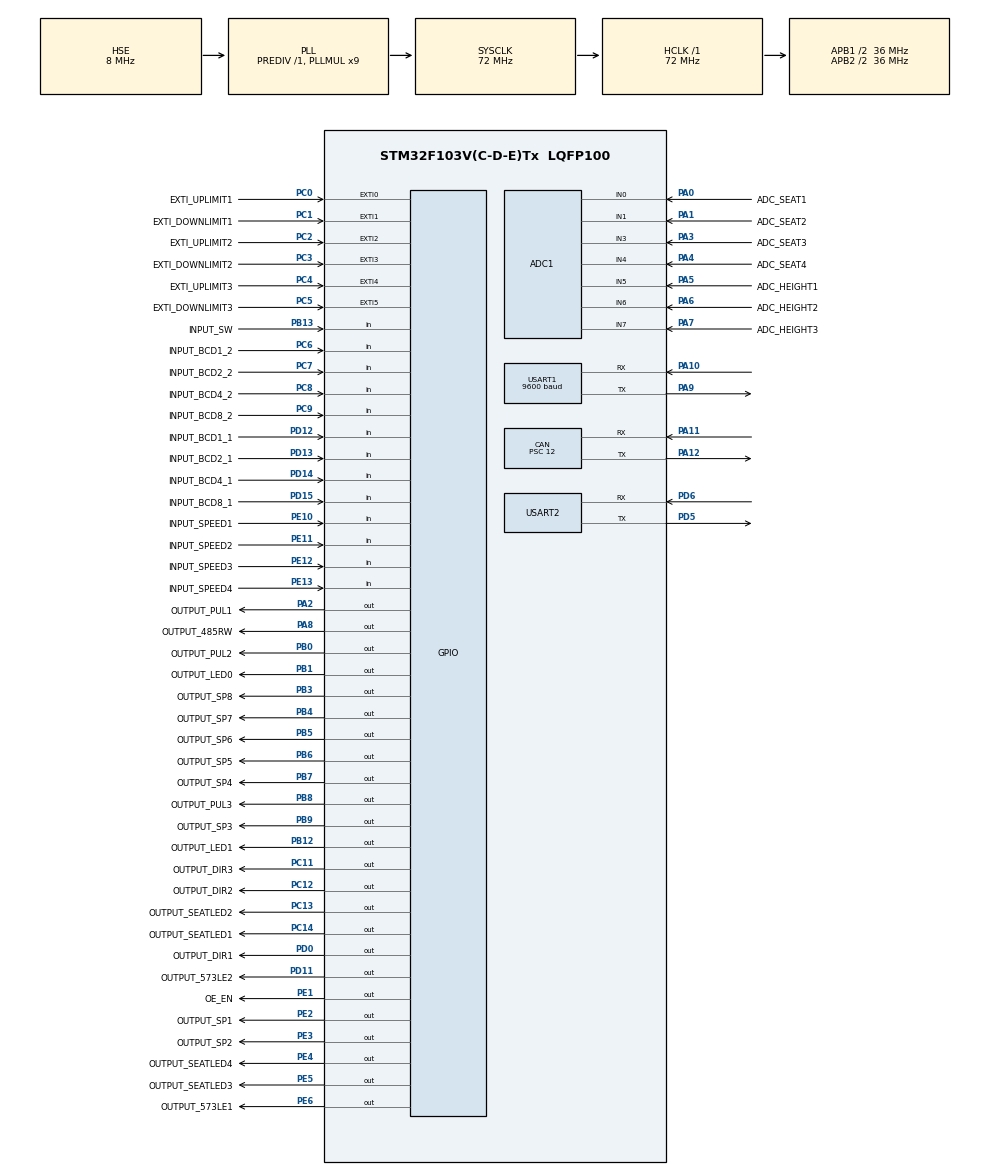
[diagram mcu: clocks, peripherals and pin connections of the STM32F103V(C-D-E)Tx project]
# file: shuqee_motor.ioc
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ADC1.Channel-0\#ChannelRegularConversion=ADC_CHANNEL_0
ADC1.Channel-1\#ChannelRegularConversion=ADC_CHANNEL_1
ADC1.Channel-2\#ChannelRegularConversion=ADC_CHANNEL_3
ADC1.Channel-3\#ChannelRegularConversion=ADC_CHANNEL_4
ADC1.Channel-4\#ChannelRegularConversion=ADC_CHANNEL_5
ADC1.Channel-5\#ChannelRegularConversion=ADC_CHANNEL_6
ADC1.Channel-6\#ChannelRegularConversion=ADC_CHANNEL_7
ADC1.ContinuousConvMode=ENABLE
ADC1.NbrOfConversion=7
ADC1.NbrOfConversionFlag=1
ADC1.Rank-0\#ChannelRegularConversion=1
ADC1.Rank-1\#ChannelRegularConversion=2
ADC1.Rank-2\#ChannelRegularConversion=3
ADC1.Rank-3\#ChannelRegularConversion=4
ADC1.Rank-4\#ChannelRegularConversion=5
ADC1.Rank-5\#ChannelRegularConversion=6
ADC1.Rank-6\#ChannelRegularConversion=7
ADC1.SamplingTime-0\#ChannelRegularConversion=ADC_SAMPLETIME_239CYCLES_5
ADC1.SamplingTime-1\#ChannelRegularConversion=ADC_SAMPLETIME_239CYCLES_5
ADC1.SamplingTime-2\#ChannelRegularConversion=ADC_SAMPLETIME_239CYCLES_5
ADC1.SamplingTime-3\#ChannelRegularConversion=ADC_SAMPLETIME_239CYCLES_5
ADC1.SamplingTime-4\#ChannelRegularConversion=ADC_SAMPLETIME_239CYCLES_5
ADC1.SamplingTime-5\#ChannelRegularConversion=ADC_SAMPLETIME_239CYCLES_5
ADC1.SamplingTime-6\#ChannelRegularConversion=ADC_SAMPLETIME_239CYCLES_5
ADC1.master=1
CAN.BS1=CAN_BS1_5TQ
CAN.BS2=CAN_BS2_6TQ
CAN.CalculateTimeBit=4000
CAN.CalculateTimeQuantum=333.33333333333337
CAN.Prescaler=12
Dma.ADC1.0.Direction=DMA_PERIPH_TO_MEMORY
Dma.ADC1.0.Instance=DMA1_Channel1
Dma.ADC1.0.MemDataAlignment=DMA_MDATAALIGN_HALFWORD
Dma.ADC1.0.MemInc=DMA_MINC_ENABLE
Dma.ADC1.0.Mode=DMA_CIRCULAR
Dma.ADC1.0.PeriphDataAlignment=DMA_PDATAALIGN_HALFWORD
Dma.ADC1.0.PeriphInc=DMA_PINC_DISABLE
Dma.ADC1.0.Priority=DMA_PRIORITY_LOW
Dma.Request0=ADC1
IWDG.Prescaler=IWDG_PRESCALER_4
Mcu.Family=STM32F1
Mcu.Name=STM32F103V(C-D-E)Tx
Mcu.Package=LQFP100
NVIC.DMA1_Channel1_IRQn=true\:4\:0\:true\:false\:true\:true
NVIC.EXTI0_IRQn=true\:0\:0\:false\:false\:true\:true
NVIC.EXTI1_IRQn=true\:0\:0\:false\:false\:true\:true
NVIC.EXTI2_IRQn=true\:0\:0\:false\:false\:true\:true
NVIC.EXTI3_IRQn=true\:0\:0\:false\:false\:true\:true
NVIC.EXTI4_IRQn=true\:0\:0\:false\:false\:true\:true
NVIC.EXTI9_5_IRQn=true\:0\:0\:false\:false\:true\:true
NVIC.PriorityGroup=NVIC_PRIORITYGROUP_4
NVIC.TIM1_UP_IRQn=true\:1\:0\:true\:false\:true\:true
NVIC.TIM2_IRQn=true\:1\:0\:true\:false\:true\:true
NVIC.TIM3_IRQn=true\:1\:0\:true\:false\:true\:true
NVIC.USART1_IRQn=true\:2\:0\:true\:false\:true\:true
NVIC.USART2_IRQn=true\:0\:0\:false\:false\:true\:true
NVIC.USB_LP_CAN1_RX0_IRQn=true\:2\:0\:true\:false\:true\:true
OSC_IN.Mode=HSE-External-Oscillator
OSC_IN.Signal=RCC_OSC_IN
OSC_OUT.Mode=HSE-External-Oscillator
OSC_OUT.Signal=RCC_OSC_OUT
PA0-WKUP.GPIO_Label=ADC_SEAT1
PA0-WKUP.Signal=ADCx_IN0
PA1.GPIO_Label=ADC_SEAT2
PA1.Signal=ADCx_IN1
PA10.Mode=Asynchronous
PA10.Signal=USART1_RX
PA11.Mode=Master
PA11.Signal=CAN_RX
PA12.Mode=Master
PA12.Signal=CAN_TX
PA13.Mode=Serial_Wire
PA13.Signal=SYS_JTMS-SWDIO
PA14.Mode=Serial_Wire
PA14.Signal=SYS_JTCK-SWCLK
PA2.GPIO_Label=OUTPUT_PUL1
PA2.GPIO_Speed=GPIO_SPEED_FREQ_HIGH
PA2.Signal=GPIO_Output
PA3.GPIO_Label=ADC_SEAT3
PA3.Signal=ADCx_IN3
PA4.GPIO_Label=ADC_SEAT4
PA4.Signal=ADCx_IN4
PA5.GPIO_Label=ADC_HEIGHT1
PA5.Signal=ADCx_IN5
PA6.GPIO_Label=ADC_HEIGHT2
PA6.Signal=ADCx_IN6
PA7.GPIO_Label=ADC_HEIGHT3
PA7.Signal=ADCx_IN7
PA8.GPIO_Label=OUTPUT_485RW
PA8.GPIO_Speed=GPIO_SPEED_FREQ_HIGH
PA8.Signal=GPIO_Output
PA9.Mode=Asynchronous
PA9.Signal=USART1_TX
PB0.GPIO_Label=OUTPUT_PUL2
PB0.GPIO_Speed=GPIO_SPEED_FREQ_HIGH
PB0.Signal=GPIO_Output
PB1.GPIO_Label=OUTPUT_LED0
PB1.GPIO_Speed=GPIO_SPEED_FREQ_HIGH
PB1.Signal=GPIO_Output
PB12.GPIO_Label=OUTPUT_LED1
PB12.GPIO_Speed=GPIO_SPEED_FREQ_HIGH
PB12.Signal=GPIO_Output
PB13.GPIO_Label=INPUT_SW
PB13.Signal=GPIO_Input
PB3.GPIO_Label=OUTPUT_SP8
PB3.GPIO_Speed=GPIO_SPEED_FREQ_HIGH
PB3.Signal=GPIO_Output
PB4.GPIO_Label=OUTPUT_SP7
PB4.GPIO_Speed=GPIO_SPEED_FREQ_HIGH
PB4.Signal=GPIO_Output
PB5.GPIO_Label=OUTPUT_SP6
PB5.GPIO_Speed=GPIO_SPEED_FREQ_HIGH
PB5.Signal=GPIO_Output
PB6.GPIO_Label=OUTPUT_SP5
PB6.GPIO_Speed=GPIO_SPEED_FREQ_HIGH
PB6.Signal=GPIO_Output
PB7.GPIO_Label=OUTPUT_SP4
PB7.GPIO_Speed=GPIO_SPEED_FREQ_HIGH
PB7.Signal=GPIO_Output
PB8.GPIO_Label=OUTPUT_PUL3
PB8.GPIO_Speed=GPIO_SPEED_FREQ_HIGH
PB8.Signal=GPIO_Output
PB9.GPIO_Label=OUTPUT_SP3
PB9.GPIO_Speed=GPIO_SPEED_FREQ_HIGH
PB9.Signal=GPIO_Output
PC0.GPIO_Label=EXTI_UPLIMIT1
PC0.GPIO_ModeDefaultEXTI=GPIO_MODE_IT_RISING_FALLING
PC0.Signal=GPXTI0
PC1.GPIO_Label=EXTI_DOWNLIMIT1
PC1.GPIO_ModeDefaultEXTI=GPIO_MODE_IT_RISING_FALLING
PC1.Signal=GPXTI1
PC11.GPIO_Label=OUTPUT_DIR3
PC11.GPIO_Speed=GPIO_SPEED_FREQ_HIGH
PC11.Signal=GPIO_Output
PC12.GPIO_Label=OUTPUT_DIR2
PC12.GPIO_Speed=GPIO_SPEED_FREQ_HIGH
PC12.Signal=GPIO_Output
PC13-TAMPER-RTC.GPIO_Label=OUTPUT_SEATLED2
PC13-TAMPER-RTC.GPIO_Speed=GPIO_SPEED_FREQ_HIGH
PC13-TAMPER-RTC.Signal=GPIO_Output
PC14-OSC32_IN.GPIO_Label=OUTPUT_SEATLED1
PC14-OSC32_IN.GPIO_Speed=GPIO_SPEED_FREQ_HIGH
PC14-OSC32_IN.Signal=GPIO_Output
PC2.GPIO_Label=EXTI_UPLIMIT2
PC2.GPIO_ModeDefaultEXTI=GPIO_MODE_IT_RISING_FALLING
PC2.Signal=GPXTI2
PC3.GPIO_Label=EXTI_DOWNLIMIT2
PC3.GPIO_ModeDefaultEXTI=GPIO_MODE_IT_RISING_FALLING
PC3.Signal=GPXTI3
PC4.GPIO_Label=EXTI_UPLIMIT3
PC4.GPIO_ModeDefaultEXTI=GPIO_MODE_IT_RISING_FALLING
PC4.Signal=GPXTI4
PC5.GPIO_Label=EXTI_DOWNLIMIT3
PC5.GPIO_ModeDefaultEXTI=GPIO_MODE_IT_RISING_FALLING
PC5.Signal=GPXTI5
PC6.GPIO_Label=INPUT_BCD1_2
PC6.Signal=GPIO_Input
PC7.GPIO_Label=INPUT_BCD2_2
PC7.Signal=GPIO_Input
PC8.GPIO_Label=INPUT_BCD4_2
PC8.Signal=GPIO_Input
PC9.GPIO_Label=INPUT_BCD8_2
PC9.Signal=GPIO_Input
PD0.GPIO_Label=OUTPUT_DIR1
PD0.GPIO_Speed=GPIO_SPEED_FREQ_HIGH
PD0.Signal=GPIO_Output
PD11.GPIO_Label=OUTPUT_573LE2
PD11.GPIO_Speed=GPIO_SPEED_FREQ_HIGH
PD11.PinState=GPIO_PIN_RESET
PD11.Signal=GPIO_Output
PD12.GPIO_Label=INPUT_BCD1_1
PD12.Signal=GPIO_Input
PD13.GPIO_Label=INPUT_BCD2_1
PD13.Signal=GPIO_Input
PD14.GPIO_Label=INPUT_BCD4_1
PD14.Signal=GPIO_Input
PD15.GPIO_Label=INPUT_BCD8_1
PD15.Signal=GPIO_Input
PD5.Mode=Asynchronous
PD5.Signal=USART2_TX
PD6.Mode=Asynchronous
PD6.Signal=USART2_RX
PE1.GPIO_Label=OE_EN
PE1.PinState=GPIO_PIN_SET
PE1.Signal=GPIO_Output
PE10.GPIO_Label=INPUT_SPEED1
PE10.GPIO_Mode=GPIO_MODE_INPUT
PE10.Signal=GPIO_Input
PE11.GPIO_Label=INPUT_SPEED2
PE11.Signal=GPIO_Input
PE12.GPIO_Label=INPUT_SPEED3
PE12.Signal=GPIO_Input
PE13.GPIO_Label=INPUT_SPEED4
PE13.Signal=GPIO_Input
PE2.GPIO_Label=OUTPUT_SP1
PE2.GPIO_Speed=GPIO_SPEED_FREQ_HIGH
PE2.Signal=GPIO_Output
PE3.GPIO_Label=OUTPUT_SP2
PE3.GPIO_Speed=GPIO_SPEED_FREQ_HIGH
PE3.Signal=GPIO_Output
PE4.GPIO_Label=OUTPUT_SEATLED4
PE4.GPIO_Speed=GPIO_SPEED_FREQ_HIGH
PE4.Signal=GPIO_Output
PE5.GPIO_Label=OUTPUT_SEATLED3
PE5.GPIO_Speed=GPIO_SPEED_FREQ_HIGH
PE5.Signal=GPIO_Output
PE6.GPIO_Label=OUTPUT_573LE1
PE6.GPIO_Speed=GPIO_SPEED_FREQ_HIGH
PE6.Signal=GPIO_Output
ProjectManager.HeapSize=0x200
ProjectManager.StackSize=0x400
ProjectManager.TargetToolchain=MDK-ARM V5
RCC.ADCPresc=RCC_ADCPCLK2_DIV8
RCC.AHBFreq_Value=72000000
RCC.APB1CLKDivider=RCC_HCLK_DIV2
RCC.APB1Freq_Value=36000000
RCC.APB1TimFreq_Value=72000000
RCC.APB2CLKDivider=RCC_HCLK_DIV2
RCC.APB2Freq_Value=36000000
RCC.APB2TimFreq_Value=72000000
RCC.HCLKFreq_Value=72000000
RCC.PLLMUL=RCC_PLL_MUL9
RCC.PLLSourceVirtual=RCC_PLLSOURCE_HSE
RCC.SYSCLKFreq_VALUE=72000000
RCC.SYSCLKSource=RCC_SYSCLKSOURCE_PLLCLK
RCC.USBFreq_Value=72000000
SH.ADCx_IN0.0=ADC1_IN0,IN0
SH.ADCx_IN1.0=ADC1_IN1,IN1
SH.ADCx_IN3.0=ADC1_IN3,IN3
SH.ADCx_IN4.0=ADC1_IN4,IN4
SH.ADCx_IN5.0=ADC1_IN5,IN5
SH.ADCx_IN6.0=ADC1_IN6,IN6
SH.ADCx_IN7.0=ADC1_IN7,IN7
TIM1.Period=999
TIM1.Prescaler=71
TIM2.Period=999
TIM2.Prescaler=71
TIM3.Period=999
TIM3.Prescaler=71
USART1.BaudRate=9600
USART1.VirtualMode=VM_ASYNC
USART2.VirtualMode=VM_ASYNC
VP_IWDG_VS_IWDG.Mode=IWDG_Activate
VP_TIM1_VS_ClockSourceINT.Mode=Internal
VP_TIM2_VS_ClockSourceINT.Mode=Internal
VP_TIM3_VS_ClockSourceINT.Mode=Internal
board=shuqee_motor

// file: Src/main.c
/**
  ******************************************************************************
  * File Name          : main.c
  * Description        : Main program body
  ******************************************************************************
  ** This notice applies to any and all portions of this file
  * that are not between comment pairs USER CODE BEGIN and
  * USER CODE END. Other portions of this file, whether
  * inserted by the user or by software development tools
  * are owned by their respective copyright owners.
  *
  * COPYRIGHT(c) 2018 STMicroelectronics
  *
  * Redistribution and use in source and binary forms, with or without modification,
  * are permitted provided that the following conditions are met:
  *   1. Redistributions of source code must retain the above copyright notice,
  *      this list of conditions and the following disclaimer.
  *   2. Redistributions in binary form must reproduce the above copyright notice,
  *      this list of conditions and the following disclaimer in the documentation
  *      and/or other materials provided with the distribution.
  *   3. Neither the name of STMicroelectronics nor the names of its contributors
  *      may be used to endorse or promote products derived from this software
  *      without specific prior written permission.
  *
  * THIS SOFTWARE IS PROVIDED BY THE COPYRIGHT HOLDERS AND CONTRIBUTORS "AS IS"
  * AND ANY EXPRESS OR IMPLIED WARRANTIES, INCLUDING, BUT NOT LIMITED TO, THE
  * IMPLIED WARRANTIES OF MERCHANTABILITY AND FITNESS FOR A PARTICULAR PURPOSE ARE
  * DISCLAIMED. IN NO EVENT SHALL THE COPYRIGHT HOLDER OR CONTRIBUTORS BE LIABLE
  * FOR ANY DIRECT, INDIRECT, INCIDENTAL, SPECIAL, EXEMPLARY, OR CONSEQUENTIAL
  * DAMAGES (INCLUDING, BUT NOT LIMITED TO, PROCUREMENT OF SUBSTITUTE GOODS OR
  * SERVICES; LOSS OF USE, DATA, OR PROFITS; OR BUSINESS INTERRUPTION) HOWEVER
  * CAUSED AND ON ANY THEORY OF LIABILITY, WHETHER IN CONTRACT, STRICT LIABILITY,
  * OR TORT (INCLUDING NEGLIGENCE OR OTHERWISE) ARISING IN ANY WAY OUT OF THE USE
  * OF THIS SOFTWARE, EVEN IF ADVISED OF THE POSSIBILITY OF SUCH DAMAGE.
  *
  ******************************************************************************
  */

#include "main.h"
#include "stm32f1xx_hal.h"

/* USER CODE BEGIN Includes */
#include "user_config.h"
#include "user_io.h"
#include "user_time.h"
#include "user_uart.h"
#include "user_can.h"
#include "sw_timer.h"
#include <string.h>
/* USER CODE END Includes */

ADC_HandleTypeDef hadc1;
DMA_HandleTypeDef hdma_adc1;

CAN_HandleTypeDef hcan;

IWDG_HandleTypeDef hiwdg;

TIM_HandleTypeDef htim1;
TIM_HandleTypeDef htim2;
TIM_HandleTypeDef htim3;

UART_HandleTypeDef huart1;
UART_HandleTypeDef huart2;

/* USER CODE BEGIN PV */
/* Private variables ---------------------------------------------------------*/
struct motion_status motion[MOTION_COUNT] = {MOTION1};
struct status status = {0};
int flag_rst = 0;	//reset flag
volatile uint8_t up_loop=0,down_loop=0;
volatile uint8_t mask_adpat_init=0;
uint8_t intput_level;
char offset_data;
/* USER CODE END PV */

void SystemClock_Config(void);
static void MX_GPIO_Init(void);
static void MX_DMA_Init(void);
static void MX_ADC1_Init(void);
static void MX_USART1_UART_Init(void);
static void MX_IWDG_Init(void);
static void MX_TIM1_Init(void);
static void MX_TIM2_Init(void);
static void MX_TIM3_Init(void);
static void MX_USART2_UART_Init(void);
static void MX_CAN_Init(void);

/* USER CODE BEGIN PFP */
/* Private function prototypes -----------------------------------------------*/

/* USER CODE END PFP */

/* USER CODE BEGIN 0 */
/**
  * @brief  Delay nanosecond function.
  * @param  times: how much nanosecond to delay.
  * @retval None
  */
void delay_ns(uint32_t times)
{
	while(times--);
}

/**
  * @brief  Delay microsecond function.
  * @param  times: how much microsecond to delay.
  * @retval None
  */
void delay_us(uint32_t times)
{
	int i;
	uint32_t count;
	for(i=0; i<10; i++)
	{
		count = times;
		while(count--);
	}
}

/**
  * @brief  Delay millisecond function.
  * @param  times: how much millisecond to delay.
  * @retval None
  */
void delay_ms(uint32_t times)
{
	uint32_t count;
	count = times;
	while(count--)
		delay_us(1000);
}

#ifdef ENV_RESET

/**
  * @brief  Reset the platform,set every motion into the origin.
  * @param  None
  * @retval None
  */
void find_origin(void)
{
	enum motion_num i;
	int def_high[MOTION_COUNT] = {0};
	for(i=MOTION1; i<MOTION_COUNT; i++)
	{
		/* bit0、bit1、bit2 for 1�?2�?3 motion；not reset�?1；reset�?0. */
		flag_rst |= 1<<i;
	}
	/* at least one motion is not reset, do while */
	while(flag_rst)
	{
		for(i=MOTION1; i<MOTION_COUNT; i++)
		{
			/* i motion is not reset, do if */
			if((flag_rst&(1<<i)) != 0)
			{
				/* i motion is not in the lowest point */
		 		if(def_high[i] == 0 && status.downlimit[i] == 0)
				{
					/* move down */
					set_pul(i, (GPIO_PinState)1, 200, 1);
				}
				/* i motion is in the lowest point */
				if(def_high[i] == 0 && status.downlimit[i] == 1)
				{
					/* Don't need correction */
					if (motion[i].config.adj == 0)
					{
						/* reset done */
						flag_rst &= ~(1<<i);
					}
					else
					{
						def_high[i] = motion[i].config.adj * ENV_SPACE;
					}
				}
				/* Need to correction */
				if(def_high[i] != 0)
				{
					/* move up */
					set_pul(i, (GPIO_PinState)0, 200, 1);
					def_high[i]--;
					/* move done */
					if(def_high[i] == 0)
					{
						/* reset done */
						flag_rst &= ~(1<<i);
					}
				}
			}
		}
	}
}
#endif

/**
  * @brief  Exchange the io of up and down.
  * @param  index: the number of the motion.
  * @retval None
  */
#ifndef ENV_AIR
void exchange_nup_ndown(enum motion_num index)
{
	GPIO_TypeDef * temp_port;
	uint16_t temp_pin;
	temp_port = motion[index].io.nup_port;
	temp_pin = motion[index].io.nup_pin;
	motion[index].io.nup_port = motion[index].io.ndown_port;
	motion[index].io.nup_pin = motion[index].io.ndown_pin;
	motion[index].io.ndown_port = temp_port;
	motion[index].io.ndown_pin = temp_pin;
}
#endif
/**
  * @brief  Init the motion for the client.
  * @param  None
  * @retval None
  */
void user_motion_init(void)
{
#ifndef ENV_AIR
	enum motion_num i;
#endif
	memset((void *)motion, 0, sizeof(motion));
#ifndef ENV_AIR
	motion[MOTION1].io.dir_port = OUTPUT_DIR1_GPIO_Port;
	motion[MOTION1].io.dir_pin = OUTPUT_DIR1_Pin;
	motion[MOTION1].io.pul_port = OUTPUT_PUL1_GPIO_Port;
	motion[MOTION1].io.pul_pin = OUTPUT_PUL1_Pin;
	motion[MOTION1].io.nup_port = OUTPUT_NUP1_GPIO_Port;
	motion[MOTION1].io.nup_pin = OUTPUT_NUP1_Pin;
	motion[MOTION1].io.ndown_port = OUTPUT_NDOWN1_GPIO_Port;
	motion[MOTION1].io.ndown_pin = OUTPUT_NDOWN1_Pin;
	motion[MOTION2].io.dir_port = OUTPUT_DIR2_GPIO_Port;
	motion[MOTION2].io.dir_pin = OUTPUT_DIR2_Pin;
	motion[MOTION2].io.pul_port = OUTPUT_PUL2_GPIO_Port;
	motion[MOTION2].io.pul_pin = OUTPUT_PUL2_Pin;
	motion[MOTION2].io.nup_port = OUTPUT_NUP2_GPIO_Port;
	motion[MOTION2].io.nup_pin = OUTPUT_NUP2_Pin;
	motion[MOTION2].io.ndown_port = OUTPUT_NDOWN2_GPIO_Port;
	motion[MOTION2].io.ndown_pin = OUTPUT_NDOWN2_Pin;
	motion[MOTION3].io.dir_port = OUTPUT_DIR3_GPIO_Port;
	motion[MOTION3].io.dir_pin = OUTPUT_DIR3_Pin;
	motion[MOTION3].io.pul_port = OUTPUT_PUL3_GPIO_Port;
	motion[MOTION3].io.pul_pin = OUTPUT_PUL3_Pin;
	motion[MOTION3].io.nup_port = OUTPUT_NUP3_GPIO_Port;
	motion[MOTION3].io.nup_pin = OUTPUT_NUP3_Pin;
	motion[MOTION3].io.ndown_port = OUTPUT_NDOWN3_GPIO_Port;
	motion[MOTION3].io.ndown_pin = OUTPUT_NDOWN3_Pin;
#else
	motion[MOTION1].io.up_port = OUTPUT_PUL1_GPIO_Port;
	motion[MOTION1].io.up_pin = OUTPUT_PUL1_Pin;
	motion[MOTION1].io.down_port = OUTPUT_DIR1_GPIO_Port;
	motion[MOTION1].io.down_pin = OUTPUT_DIR1_Pin;
	motion[MOTION2].io.up_port = OUTPUT_PUL2_GPIO_Port;
	motion[MOTION2].io.up_pin = OUTPUT_PUL2_Pin;
	motion[MOTION2].io.down_port = OUTPUT_DIR2_GPIO_Port;
	motion[MOTION2].io.down_pin = OUTPUT_DIR2_Pin;
	motion[MOTION3].io.up_port = OUTPUT_PUL3_GPIO_Port;
	motion[MOTION3].io.up_pin = OUTPUT_PUL3_Pin;
	motion[MOTION3].io.down_port = OUTPUT_DIR3_GPIO_Port;
	motion[MOTION3].io.down_pin = OUTPUT_DIR3_Pin;
#endif

#ifndef ENV_AIR
	motion[MOTION1].config.dir = MOTION1_CONFIG_DIR;
	motion[MOTION2].config.dir = MOTION2_CONFIG_DIR;
	motion[MOTION3].config.dir = MOTION3_CONFIG_DIR;

	motion[MOTION1].config.origin = MOTION1_CONFIG_ORIGIN;
	motion[MOTION2].config.origin = MOTION2_CONFIG_ORIGIN;
	motion[MOTION3].config.origin = MOTION3_CONFIG_ORIGIN;

	motion[MOTION1].config.adj = MOTION1_CONFIG_ADJ;
	motion[MOTION2].config.adj = MOTION2_CONFIG_ADJ;
	motion[MOTION3].config.adj = MOTION3_CONFIG_ADJ;

	for (i=MOTION1; i<MOTION_COUNT; i++)
	{
		motion[i].index = i;
		motion[i].high.set = motion[i].config.origin * ENV_SPACE;
		if (motion[i].config.dir == GPIO_PIN_SET)
		{
			exchange_nup_ndown(i);
		}
	}
#ifdef ENV_RESET
	find_origin();
#endif
#endif
}

#ifndef ENV_AIR
#ifdef ENV_NOSENSOR
/**
  * @brief  Free the limit of down move.
  * @param  None
  * @retval None
  */
void free_ndown(void)
{
	enum motion_num i;
	for (i=MOTION1; i<MOTION_COUNT; i++)
	{
		if (motion[i].high.now >= 0 * ENV_SPACE)
		{
			/* Allowed to move down */
			HAL_GPIO_WritePin(motion[i].io.ndown_port, motion[i].io.ndown_pin, GPIO_PIN_SET);
		}
	}
}

/**
  * @brief  Free the limit of up move.
  * @param  None
  * @retval None
  */
void free_nup(void)
{
	enum motion_num i;
	for (i=MOTION1; i<MOTION_COUNT; i++)
	{
		if (motion[i].high.now <= 255 * ENV_SPACE)
		{
			/* Allowed to move up */
			HAL_GPIO_WritePin(motion[i].io.nup_port, motion[i].io.nup_pin, GPIO_PIN_SET);
		}
	}
}
#else
/**
  * @brief  Free the limit of down move.
  * @param  None
  * @retval None
  */
void free_ndown(void)
{
	enum motion_num i;
	for (i=MOTION1; i<MOTION_COUNT; i++)
	{
		if (status.downlimit[i] == 0)
		{
			/* allowed to move down */
			HAL_GPIO_WritePin(motion[i].io.ndown_port, motion[i].io.ndown_pin, GPIO_PIN_SET);
		}
	}
}

/**
  * @brief  Free the limit of up move.
  * @param  None
  * @retval None
  */
void free_nup(void)
{
	enum motion_num i;
	for (i=MOTION1; i<MOTION_COUNT; i++)
	{
		if (status.uplimit[i] == 0)
		{
			/* allowed to move up */
			HAL_GPIO_WritePin(motion[i].io.nup_port, motion[i].io.nup_pin, GPIO_PIN_SET);
		}
	}
}
#endif
#endif

void speed_scan(void)
{
	   if(key1())   intput_level|=0x01;   else  intput_level&=0x0e;
	   if(key2())   intput_level|=0x02;   else  intput_level&=0x0d;
	   if(key3())   intput_level|=0x04;   else  intput_level&=0x0b;
	   if(key4())   intput_level|=0x08;   else  intput_level&=0x07;
	   switch(intput_level)
		 {
				case 0: offset_data=30; break;
				case 1: offset_data=25; break;
				case 2: offset_data=20; break;
				case 3: offset_data=15; break;
				case 4: offset_data=10; break;
				case 5: offset_data=5; break;
				case 6: offset_data=0; break;
				case 7: offset_data=-5; break;
				case 8: offset_data=-10; break;
				case 9: offset_data=-15; break;
				case 10: offset_data=-20; break;
				case 11: offset_data=-25; break;
				case 12: offset_data=-30; break;
				case 13: offset_data=-35; break;
				case 14: offset_data=-40; break;
				case 15: offset_data=-45; break;
			  default :break;
		 }
}
/* USER CODE END 0 */

int main(void)
{

  /* USER CODE BEGIN 1 */
	static int led_count = 0;
	static uint8_t send_seat = 0;
	/* frame header: 0xff; ack type: 0xc1 */
	static uint8_t send_buf[4] = {0xff,0xc1};
	static int send_index = 0;
	/* flag of update about the data of uart coming; not update: 0; update: 1 */
	uint8_t update_485;
	uint8_t update_can;
	/* flag of init; not init: 0; init: 1 */
	uint8_t init_flag = 0;
//	uint8_t i;
  /* USER CODE END 1 */

  /* MCU Configuration----------------------------------------------------------*/

  /* Reset of all peripherals, Initializes the Flash interface and the Systick. */
  HAL_Init();

  /* Configure the system clock */
  SystemClock_Config();

  /* Initialize all configured peripherals */
  MX_GPIO_Init();
  MX_DMA_Init();
  MX_ADC1_Init();
  MX_USART1_UART_Init();
//  MX_IWDG_Init();
  MX_TIM1_Init();
  MX_TIM2_Init();
  MX_TIM3_Init();
  MX_USART2_UART_Init();
  MX_CAN_Init();

  /* USER CODE BEGIN 2 */
	user_io_init();
	user_motion_init();
	user_time_init();
	user_uart_init();
	user_can_init();
	sw_timer_init();
	speed_scan();
  /* USER CODE END 2 */

  /* Infinite loop */
  while (1)
  {

  /* USER CODE BEGIN 3 */
		led_count = 0;
		send_seat = 0;
		send_index = 0;

//	user_io_init();
//	user_motion_init();
//	user_time_init();
//	user_uart_init();

		SAFE(motion[MOTION1].high.set = 0* ENV_SPACE);
		SAFE(motion[MOTION2].high.set = 0* ENV_SPACE);
		SAFE(motion[MOTION3].high.set = 0* ENV_SPACE);

//	__HAL_IWDG_START(&hiwdg);

	init_flag = 1;

	while (init_flag != 0)
	{
//		HAL_IWDG_Refresh(&hiwdg);
		sw_timer_handle();
		status.seat_enable = GET_SEAT_ENABLE();
		SAFE(status.seat_enable += status.seat_num);
		SAFE(update_485 = frame.enable);
		SAFE(update_can=get_update_flag());
#ifndef ENV_AIR
		SAFE(free_ndown());
		SAFE(free_nup());
#endif
		if (update_485||update_can)
		{
			SAFE(frame.enable = 0);
			SAFE(clr_update_flag());
			/* LED_START */
			led_count++;
			led_count = led_count%10;
			if(led_count == 0)
			{
				LED_TOGGLE();
			}
			/* LED_END */
			/* DEBUG_INFO_START */
//			user_send_debug_info();
			/* DEBUG_INFO_END */
			/* SEAT_START */
			if (status.seat_enable)
			{
				/* update the set of height */
				SAFE(motion[MOTION1].high.set = frame.buff[4] * ENV_SPACE);
				SAFE(motion[MOTION2].high.set = frame.buff[3] * ENV_SPACE);
				SAFE(motion[MOTION3].high.set = frame.buff[2] * ENV_SPACE);
				/* update the special effects */
				SAFE(status.spb = frame.buff[5]);
			}
			else
			{
				SAFE(motion[MOTION1].high.set = MOTION1_CONFIG_ORIGIN * ENV_SPACE);
				SAFE(motion[MOTION2].high.set = MOTION2_CONFIG_ORIGIN * ENV_SPACE);
				SAFE(motion[MOTION3].high.set = MOTION3_CONFIG_ORIGIN * ENV_SPACE);
        SAFE(status.spb = 0);
			}
			/* update the seat number begin */
			status.id = 0;
			if(GET_ID_1())
				status.id = status.id + 1;
			if(GET_ID_2())
				status.id = status.id + 2;
			if(GET_ID_4())
				status.id = status.id + 4;
			if(GET_ID_8())
				status.id = status.id + 8;
			if(GET_ID_10())
				status.id = status.id + 10;
			if(GET_ID_20())
				status.id = status.id + 20;
			if(GET_ID_40())
				status.id = status.id + 40;
			if(GET_ID_80())
				status.id = status.id + 80;
			/* update the seat number end */
			/* Judgment seat number */
			if(frame.buff[7] == status.id)
			{
				send_seat = 1;
				send_buf[2] = status.id;
				SAFE(send_buf[3] = status.seat_num);
			}
			/* SEAT_END */
		}
		/* SEND_SEAT_START */
		if(send_seat)
		{
			/* set the io of 485 into the "send data" mode */
			HAL_GPIO_WritePin(OUTPUT_485RW_GPIO_Port, OUTPUT_485RW_Pin, GPIO_PIN_RESET);
			if(send_index == 0 || __HAL_UART_GET_FLAG(&huart1, UART_FLAG_TXE) != RESET)
			{
				huart1.Instance->DR = send_buf[send_index];
				send_index++;
			}
			if(send_index == 4)
			{
				send_index = 0;
				send_seat = 0;
			}
		}
		else
		{
			if (__HAL_UART_GET_FLAG(&huart1, UART_FLAG_TXE) != RESET)
			{
				/* set the io of 485 into the "receive data" mode */
				HAL_GPIO_WritePin(OUTPUT_485RW_GPIO_Port, OUTPUT_485RW_Pin, GPIO_PIN_SET);
			}
		}
		/* SEND_SEAT_END */
		/* SPB_START */
		if (!status.seat_enable)
		{
			status.spb = 0;
#ifndef ENV_AIR
			SAFE(motion[MOTION1].high.set = motion[MOTION1].config.origin * ENV_SPACE);
			SAFE(motion[MOTION2].high.set = motion[MOTION2].config.origin * ENV_SPACE);
			SAFE(motion[MOTION3].high.set = motion[MOTION3].config.origin * ENV_SPACE);
#else
			SAFE(motion[MOTION1].high.set = 0* ENV_SPACE);
			SAFE(motion[MOTION2].high.set = 0* ENV_SPACE);
			SAFE(motion[MOTION3].high.set = 0* ENV_SPACE);
#endif
		}
		/* update the special effects into io */
		SPB1(status.spb&(1<<0));
		SPB2(status.spb&(1<<1));
		SPB3(status.spb&(1<<2));
		SPB4(status.spb&(1<<3));
		SPB5(status.spb&(1<<4));
		SPB6(status.spb&(1<<5));
		SPB7(status.spb&(1<<6));
		SPB8(status.spb&(1<<7));
		/* SPB_END */
		/* RST_START */
		if (status.spb&0x01)
			init_flag = 0;
		/* RST_END */
		/* to prevent the uart error */
		HAL_UART_Receive_IT(&huart1, (uint8_t *)&(frame.data), 1);
	}
  }
  /* USER CODE END 3 */

}

/** System Clock Configuration
*/
void SystemClock_Config(void)
{

  RCC_OscInitTypeDef RCC_OscInitStruct;
  RCC_ClkInitTypeDef RCC_ClkInitStruct;
  RCC_PeriphCLKInitTypeDef PeriphClkInit;

    /**Initializes the CPU, AHB and APB busses clocks
    */
  RCC_OscInitStruct.OscillatorType = RCC_OSCILLATORTYPE_LSI|RCC_OSCILLATORTYPE_HSE;
  RCC_OscInitStruct.HSEState = RCC_HSE_ON;
  RCC_OscInitStruct.HSEPredivValue = RCC_HSE_PREDIV_DIV1;
  RCC_OscInitStruct.HSIState = RCC_HSI_ON;
  RCC_OscInitStruct.LSIState = RCC_LSI_ON;
  RCC_OscInitStruct.PLL.PLLState = RCC_PLL_ON;
  RCC_OscInitStruct.PLL.PLLSource = RCC_PLLSOURCE_HSE;
  RCC_OscInitStruct.PLL.PLLMUL = RCC_PLL_MUL9;
  if (HAL_RCC_OscConfig(&RCC_OscInitStruct) != HAL_OK)
  {
    _Error_Handler(__FILE__, __LINE__);
  }

    /**Initializes the CPU, AHB and APB busses clocks
    */
  RCC_ClkInitStruct.ClockType = RCC_CLOCKTYPE_HCLK|RCC_CLOCKTYPE_SYSCLK
                              |RCC_CLOCKTYPE_PCLK1|RCC_CLOCKTYPE_PCLK2;
  RCC_ClkInitStruct.SYSCLKSource = RCC_SYSCLKSOURCE_PLLCLK;
  RCC_ClkInitStruct.AHBCLKDivider = RCC_SYSCLK_DIV1;
  RCC_ClkInitStruct.APB1CLKDivider = RCC_HCLK_DIV2;
  RCC_ClkInitStruct.APB2CLKDivider = RCC_HCLK_DIV2;

  if (HAL_RCC_ClockConfig(&RCC_ClkInitStruct, FLASH_LATENCY_2) != HAL_OK)
  {
    _Error_Handler(__FILE__, __LINE__);
  }

  PeriphClkInit.PeriphClockSelection = RCC_PERIPHCLK_ADC;
  PeriphClkInit.AdcClockSelection = RCC_ADCPCLK2_DIV8;
  if (HAL_RCCEx_PeriphCLKConfig(&PeriphClkInit) != HAL_OK)
  {
    _Error_Handler(__FILE__, __LINE__);
  }

    /**Configure the Systick interrupt time
    */
  HAL_SYSTICK_Config(HAL_RCC_GetHCLKFreq()/1000);

    /**Configure the Systick
    */
  HAL_SYSTICK_CLKSourceConfig(SYSTICK_CLKSOURCE_HCLK);

  /* SysTick_IRQn interrupt configuration */
  HAL_NVIC_SetPriority(SysTick_IRQn, 5, 0);
}

/* ADC1 init function */
static void MX_ADC1_Init(void)
{

  ADC_ChannelConfTypeDef sConfig;

    /**Common config
    */
  hadc1.Instance = ADC1;
  hadc1.Init.ScanConvMode = ADC_SCAN_ENABLE;
  hadc1.Init.ContinuousConvMode = ENABLE;
  hadc1.Init.DiscontinuousConvMode = DISABLE;
  hadc1.Init.ExternalTrigConv = ADC_SOFTWARE_START;
  hadc1.Init.DataAlign = ADC_DATAALIGN_RIGHT;
  hadc1.Init.NbrOfConversion = 7;
  if (HAL_ADC_Init(&hadc1) != HAL_OK)
  {
    _Error_Handler(__FILE__, __LINE__);
  }

    /**Configure Regular Channel
    */
  sConfig.Channel = ADC_CHANNEL_0;
  sConfig.Rank = 1;
  sConfig.SamplingTime = ADC_SAMPLETIME_239CYCLES_5;
  if (HAL_ADC_ConfigChannel(&hadc1, &sConfig) != HAL_OK)
  {
    _Error_Handler(__FILE__, __LINE__);
  }

    /**Configure Regular Channel
    */
  sConfig.Channel = ADC_CHANNEL_1;
  sConfig.Rank = 2;
  if (HAL_ADC_ConfigChannel(&hadc1, &sConfig) != HAL_OK)
  {
    _Error_Handler(__FILE__, __LINE__);
  }

    /**Configure Regular Channel
    */
  sConfig.Channel = ADC_CHANNEL_3;
  sConfig.Rank = 3;
  if (HAL_ADC_ConfigChannel(&hadc1, &sConfig) != HAL_OK)
  {
    _Error_Handler(__FILE__, __LINE__);
  }

    /**Configure Regular Channel
    */
  sConfig.Channel = ADC_CHANNEL_4;
  sConfig.Rank = 4;
  if (HAL_ADC_ConfigChannel(&hadc1, &sConfig) != HAL_OK)
  {
    _Error_Handler(__FILE__, __LINE__);
  }

    /**Configure Regular Channel
    */
  sConfig.Channel = ADC_CHANNEL_5;
  sConfig.Rank = 5;
  if (HAL_ADC_ConfigChannel(&hadc1, &sConfig) != HAL_OK)
  {
    _Error_Handler(__FILE__, __LINE__);
  }

    /**Configure Regular Channel
    */
  sConfig.Channel = ADC_CHANNEL_6;
  sConfig.Rank = 6;
  if (HAL_ADC_ConfigChannel(&hadc1, &sConfig) != HAL_OK)
  {
    _Error_Handler(__FILE__, __LINE__);
  }

    /**Configure Regular Channel
    */
  sConfig.Channel = ADC_CHANNEL_7;
  sConfig.Rank = 7;
  if (HAL_ADC_ConfigChannel(&hadc1, &sConfig) != HAL_OK)
  {
    _Error_Handler(__FILE__, __LINE__);
  }

}

/* CAN init function */
static void MX_CAN_Init(void)
{

  hcan.Instance = CAN1;
  hcan.Init.Prescaler = 12;
  hcan.Init.Mode = CAN_MODE_NORMAL;
  hcan.Init.SJW = CAN_SJW_1TQ;
  hcan.Init.BS1 = CAN_BS1_5TQ;
  hcan.Init.BS2 = CAN_BS2_6TQ;
  hcan.Init.TTCM = DISABLE;
  hcan.Init.ABOM = DISABLE;
  hcan.Init.AWUM = DISABLE;
  hcan.Init.NART = DISABLE;
  hcan.Init.RFLM = DISABLE;
  hcan.Init.TXFP = DISABLE;
  if (HAL_CAN_Init(&hcan) != HAL_OK)
  {
    _Error_Handler(__FILE__, __LINE__);
  }

}

/* IWDG init function */
static void MX_IWDG_Init(void)
{

  hiwdg.Instance = IWDG;
  hiwdg.Init.Prescaler = IWDG_PRESCALER_4;
  hiwdg.Init.Reload = 4095;
  if (HAL_IWDG_Init(&hiwdg) != HAL_OK)
  {
    _Error_Handler(__FILE__, __LINE__);
  }

}

/* TIM1 init function */
static void MX_TIM1_Init(void)
{

  TIM_ClockConfigTypeDef sClockSourceConfig;
  TIM_MasterConfigTypeDef sMasterConfig;

  htim1.Instance = TIM1;
  htim1.Init.Prescaler = 71;
  htim1.Init.CounterMode = TIM_COUNTERMODE_UP;
  htim1.Init.Period = 999;
  htim1.Init.ClockDivision = TIM_CLOCKDIVISION_DIV1;
  htim1.Init.RepetitionCounter = 0;
  htim1.Init.AutoReloadPreload = TIM_AUTORELOAD_PRELOAD_DISABLE;
  if (HAL_TIM_Base_Init(&htim1) != HAL_OK)
  {
    _Error_Handler(__FILE__, __LINE__);
  }

  sClockSourceConfig.ClockSource = TIM_CLOCKSOURCE_INTERNAL;
  if (HAL_TIM_ConfigClockSource(&htim1, &sClockSourceConfig) != HAL_OK)
  {
    _Error_Handler(__FILE__, __LINE__);
  }

  sMasterConfig.MasterOutputTrigger = TIM_TRGO_RESET;
  sMasterConfig.MasterSlaveMode = TIM_MASTERSLAVEMODE_DISABLE;
  if (HAL_TIMEx_MasterConfigSynchronization(&htim1, &sMasterConfig) != HAL_OK)
  {
    _Error_Handler(__FILE__, __LINE__);
  }

}

/* TIM2 init function */
static void MX_TIM2_Init(void)
{

  TIM_ClockConfigTypeDef sClockSourceConfig;
  TIM_MasterConfigTypeDef sMasterConfig;

  htim2.Instance = TIM2;
  htim2.Init.Prescaler = 71;
  htim2.Init.CounterMode = TIM_COUNTERMODE_UP;
  htim2.Init.Period = 999;
  htim2.Init.ClockDivision = TIM_CLOCKDIVISION_DIV1;
  htim2.Init.AutoReloadPreload = TIM_AUTORELOAD_PRELOAD_DISABLE;
  if (HAL_TIM_Base_Init(&htim2) != HAL_OK)
  {
    _Error_Handler(__FILE__, __LINE__);
  }

  sClockSourceConfig.ClockSource = TIM_CLOCKSOURCE_INTERNAL;
  if (HAL_TIM_ConfigClockSource(&htim2, &sClockSourceConfig) != HAL_OK)
  {
    _Error_Handler(__FILE__, __LINE__);
  }

  sMasterConfig.MasterOutputTrigger = TIM_TRGO_RESET;
  sMasterConfig.MasterSlaveMode = TIM_MASTERSLAVEMODE_DISABLE;
  if (HAL_TIMEx_MasterConfigSynchronization(&htim2, &sMasterConfig) != HAL_OK)
  {
    _Error_Handler(__FILE__, __LINE__);
  }

}

/* TIM3 init function */
static void MX_TIM3_Init(void)
{

  TIM_ClockConfigTypeDef sClockSourceConfig;
  TIM_MasterConfigTypeDef sMasterConfig;

  htim3.Instance = TIM3;
  htim3.Init.Prescaler = 71;
  htim3.Init.CounterMode = TIM_COUNTERMODE_UP;
  htim3.Init.Period = 999;
  htim3.Init.ClockDivision = TIM_CLOCKDIVISION_DIV1;
  htim3.Init.AutoReloadPreload = TIM_AUTORELOAD_PRELOAD_DISABLE;
  if (HAL_TIM_Base_Init(&htim3) != HAL_OK)
  {
    _Error_Handler(__FILE__, __LINE__);
  }

  sClockSourceConfig.ClockSource = TIM_CLOCKSOURCE_INTERNAL;
  if (HAL_TIM_ConfigClockSource(&htim3, &sClockSourceConfig) != HAL_OK)
  {
    _Error_Handler(__FILE__, __LINE__);
  }

  sMasterConfig.MasterOutputTrigger = TIM_TRGO_RESET;
  sMasterConfig.MasterSlaveMode = TIM_MASTERSLAVEMODE_DISABLE;
  if (HAL_TIMEx_MasterConfigSynchronization(&htim3, &sMasterConfig) != HAL_OK)
  {
    _Error_Handler(__FILE__, __LINE__);
  }

}

/* USART1 init function */
static void MX_USART1_UART_Init(void)
{

  huart1.Instance = USART1;
  huart1.Init.BaudRate = 9600;
  huart1.Init.WordLength = UART_WORDLENGTH_8B;
  huart1.Init.StopBits = UART_STOPBITS_1;
  huart1.Init.Parity = UART_PARITY_NONE;
  huart1.Init.Mode = UART_MODE_TX_RX;
  huart1.Init.HwFlowCtl = UART_HWCONTROL_NONE;
  huart1.Init.OverSampling = UART_OVERSAMPLING_16;
  if (HAL_UART_Init(&huart1) != HAL_OK)
  {
    _Error_Handler(__FILE__, __LINE__);
  }

}

/* USART2 init function */
static void MX_USART2_UART_Init(void)
{

  huart2.Instance = USART2;
  huart2.Init.BaudRate = 115200;
  huart2.Init.WordLength = UART_WORDLENGTH_8B;
  huart2.Init.StopBits = UART_STOPBITS_1;
  huart2.Init.Parity = UART_PARITY_NONE;
  huart2.Init.Mode = UART_MODE_TX_RX;
  huart2.Init.HwFlowCtl = UART_HWCONTROL_NONE;
  huart2.Init.OverSampling = UART_OVERSAMPLING_16;
  if (HAL_UART_Init(&huart2) != HAL_OK)
  {
    _Error_Handler(__FILE__, __LINE__);
  }

}

static void MX_DMA_Init(void)
{
  /* DMA controller clock enable */
  __HAL_RCC_DMA1_CLK_ENABLE();

  /* DMA interrupt init */
  /* DMA1_Channel1_IRQn interrupt configuration */
  HAL_NVIC_SetPriority(DMA1_Channel1_IRQn, 4, 0);
  HAL_NVIC_EnableIRQ(DMA1_Channel1_IRQn);

}

/** Configure pins as
        * Analog
        * Input
        * Output
        * EVENT_OUT
        * EXTI
*/
static void MX_GPIO_Init(void)
{

  GPIO_InitTypeDef GPIO_InitStruct;

  /* GPIO Ports Clock Enable */
  __HAL_RCC_GPIOE_CLK_ENABLE();
  __HAL_RCC_GPIOC_CLK_ENABLE();
  __HAL_RCC_GPIOA_CLK_ENABLE();
  __HAL_RCC_GPIOB_CLK_ENABLE();
  __HAL_RCC_GPIOD_CLK_ENABLE();

  /*Configure GPIO pin Output Level */
  HAL_GPIO_WritePin(GPIOE, OUTPUT_SP1_Pin|OUTPUT_SP2_Pin|OUTPUT_SEATLED4_Pin|OUTPUT_SEATLED3_Pin
                          |OUTPUT_573LE1_Pin, GPIO_PIN_RESET);

  /*Configure GPIO pin Output Level */
  HAL_GPIO_WritePin(GPIOC, OUTPUT_SEATLED2_Pin|OUTPUT_SEATLED1_Pin|OUTPUT_DIR3_Pin|OUTPUT_DIR2_Pin, GPIO_PIN_RESET);

  /*Configure GPIO pin Output Level */
  HAL_GPIO_WritePin(GPIOA, OUTPUT_PUL1_Pin|OUTPUT_485RW_Pin, GPIO_PIN_RESET);

  /*Configure GPIO pin Output Level */
  HAL_GPIO_WritePin(GPIOB, OUTPUT_PUL2_Pin|OUTPUT_LED0_Pin|OUTPUT_LED1_Pin|OUTPUT_SP8_Pin
                          |OUTPUT_SP7_Pin|OUTPUT_SP6_Pin|OUTPUT_SP5_Pin|OUTPUT_SP4_Pin
                          |OUTPUT_PUL3_Pin|OUTPUT_SP3_Pin, GPIO_PIN_RESET);

  /*Configure GPIO pin Output Level */
  HAL_GPIO_WritePin(GPIOD, OUTPUT_573LE2_Pin|OUTPUT_DIR1_Pin, GPIO_PIN_RESET);

  /*Configure GPIO pin Output Level */
  HAL_GPIO_WritePin(OE_EN_GPIO_Port, OE_EN_Pin, GPIO_PIN_SET);

  /*Configure GPIO pins : OUTPUT_SP1_Pin OUTPUT_SP2_Pin OUTPUT_SEATLED4_Pin OUTPUT_SEATLED3_Pin
                           OUTPUT_573LE1_Pin */
  GPIO_InitStruct.Pin = OUTPUT_SP1_Pin|OUTPUT_SP2_Pin|OUTPUT_SEATLED4_Pin|OUTPUT_SEATLED3_Pin
                          |OUTPUT_573LE1_Pin;
  GPIO_InitStruct.Mode = GPIO_MODE_OUTPUT_PP;
  GPIO_InitStruct.Speed = GPIO_SPEED_FREQ_HIGH;
  HAL_GPIO_Init(GPIOE, &GPIO_InitStruct);

  /*Configure GPIO pins : OUTPUT_SEATLED2_Pin OUTPUT_SEATLED1_Pin OUTPUT_DIR3_Pin OUTPUT_DIR2_Pin */
  GPIO_InitStruct.Pin = OUTPUT_SEATLED2_Pin|OUTPUT_SEATLED1_Pin|OUTPUT_DIR3_Pin|OUTPUT_DIR2_Pin;
  GPIO_InitStruct.Mode = GPIO_MODE_OUTPUT_PP;
  GPIO_InitStruct.Speed = GPIO_SPEED_FREQ_HIGH;
  HAL_GPIO_Init(GPIOC, &GPIO_InitStruct);

  /*Configure GPIO pins : EXTI_UPLIMIT1_Pin EXTI_DOWNLIMIT1_Pin EXTI_UPLIMIT2_Pin EXTI_DOWNLIMIT2_Pin
                           EXTI_UPLIMIT3_Pin EXTI_DOWNLIMIT3_Pin */
  GPIO_InitStruct.Pin = EXTI_UPLIMIT1_Pin|EXTI_DOWNLIMIT1_Pin|EXTI_UPLIMIT2_Pin|EXTI_DOWNLIMIT2_Pin
                          |EXTI_UPLIMIT3_Pin|EXTI_DOWNLIMIT3_Pin;
  GPIO_InitStruct.Mode = GPIO_MODE_IT_RISING_FALLING;
  GPIO_InitStruct.Pull = GPIO_NOPULL;
  HAL_GPIO_Init(GPIOC, &GPIO_InitStruct);

  /*Configure GPIO pins : OUTPUT_PUL1_Pin OUTPUT_485RW_Pin */
  GPIO_InitStruct.Pin = OUTPUT_PUL1_Pin|OUTPUT_485RW_Pin;
  GPIO_InitStruct.Mode = GPIO_MODE_OUTPUT_PP;
  GPIO_InitStruct.Speed = GPIO_SPEED_FREQ_HIGH;
  HAL_GPIO_Init(GPIOA, &GPIO_InitStruct);

  /*Configure GPIO pins : OUTPUT_PUL2_Pin OUTPUT_LED0_Pin OUTPUT_LED1_Pin OUTPUT_SP8_Pin
                           OUTPUT_SP7_Pin OUTPUT_SP6_Pin OUTPUT_SP5_Pin OUTPUT_SP4_Pin
                           OUTPUT_PUL3_Pin OUTPUT_SP3_Pin */
  GPIO_InitStruct.Pin = OUTPUT_PUL2_Pin|OUTPUT_LED0_Pin|OUTPUT_LED1_Pin|OUTPUT_SP8_Pin
                          |OUTPUT_SP7_Pin|OUTPUT_SP6_Pin|OUTPUT_SP5_Pin|OUTPUT_SP4_Pin
                          |OUTPUT_PUL3_Pin|OUTPUT_SP3_Pin;
  GPIO_InitStruct.Mode = GPIO_MODE_OUTPUT_PP;
  GPIO_InitStruct.Speed = GPIO_SPEED_FREQ_HIGH;
  HAL_GPIO_Init(GPIOB, &GPIO_InitStruct);

  /*Configure GPIO pins : INPUT_SPEED1_Pin INPUT_SPEED2_Pin INPUT_SPEED3_Pin INPUT_SPEED4_Pin */
  GPIO_InitStruct.Pin = INPUT_SPEED1_Pin|INPUT_SPEED2_Pin|INPUT_SPEED3_Pin|INPUT_SPEED4_Pin;
  GPIO_InitStruct.Mode = GPIO_MODE_INPUT;
  GPIO_InitStruct.Pull = GPIO_NOPULL;
  HAL_GPIO_Init(GPIOE, &GPIO_InitStruct);

  /*Configure GPIO pin : INPUT_SW_Pin */
  GPIO_InitStruct.Pin = INPUT_SW_Pin;
  GPIO_InitStruct.Mode = GPIO_MODE_INPUT;
  GPIO_InitStruct.Pull = GPIO_NOPULL;
  HAL_GPIO_Init(INPUT_SW_GPIO_Port, &GPIO_InitStruct);

  /*Configure GPIO pins : OUTPUT_573LE2_Pin OUTPUT_DIR1_Pin */
  GPIO_InitStruct.Pin = OUTPUT_573LE2_Pin|OUTPUT_DIR1_Pin;
  GPIO_InitStruct.Mode = GPIO_MODE_OUTPUT_PP;
  GPIO_InitStruct.Speed = GPIO_SPEED_FREQ_HIGH;
  HAL_GPIO_Init(GPIOD, &GPIO_InitStruct);

  /*Configure GPIO pins : INPUT_BCD1_1_Pin INPUT_BCD2_1_Pin INPUT_BCD4_1_Pin INPUT_BCD8_1_Pin */
  GPIO_InitStruct.Pin = INPUT_BCD1_1_Pin|INPUT_BCD2_1_Pin|INPUT_BCD4_1_Pin|INPUT_BCD8_1_Pin;
  GPIO_InitStruct.Mode = GPIO_MODE_INPUT;
  GPIO_InitStruct.Pull = GPIO_NOPULL;
  HAL_GPIO_Init(GPIOD, &GPIO_InitStruct);

  /*Configure GPIO pins : INPUT_BCD1_2_Pin INPUT_BCD2_2_Pin INPUT_BCD4_2_Pin INPUT_BCD8_2_Pin */
  GPIO_InitStruct.Pin = INPUT_BCD1_2_Pin|INPUT_BCD2_2_Pin|INPUT_BCD4_2_Pin|INPUT_BCD8_2_Pin;
  GPIO_InitStruct.Mode = GPIO_MODE_INPUT;
  GPIO_InitStruct.Pull = GPIO_NOPULL;
  HAL_GPIO_Init(GPIOC, &GPIO_InitStruct);

  /*Configure GPIO pin : OE_EN_Pin */
  GPIO_InitStruct.Pin = OE_EN_Pin;
  GPIO_InitStruct.Mode = GPIO_MODE_OUTPUT_PP;
  GPIO_InitStruct.Speed = GPIO_SPEED_FREQ_LOW;
  HAL_GPIO_Init(OE_EN_GPIO_Port, &GPIO_InitStruct);

  /* EXTI interrupt init*/
  HAL_NVIC_SetPriority(EXTI0_IRQn, 0, 0);
  HAL_NVIC_EnableIRQ(EXTI0_IRQn);

  HAL_NVIC_SetPriority(EXTI1_IRQn, 0, 0);
  HAL_NVIC_EnableIRQ(EXTI1_IRQn);

  HAL_NVIC_SetPriority(EXTI2_IRQn, 0, 0);
  HAL_NVIC_EnableIRQ(EXTI2_IRQn);

  HAL_NVIC_SetPriority(EXTI3_IRQn, 0, 0);
  HAL_NVIC_EnableIRQ(EXTI3_IRQn);

  HAL_NVIC_SetPriority(EXTI4_IRQn, 0, 0);
  HAL_NVIC_EnableIRQ(EXTI4_IRQn);

  HAL_NVIC_SetPriority(EXTI9_5_IRQn, 0, 0);
  HAL_NVIC_EnableIRQ(EXTI9_5_IRQn);

}

void _Error_Handler(char * file, int line)
{
  while(1)
  {
  }
}

/************************ (C) COPYRIGHT STMicroelectronics *****END OF FILE****/
